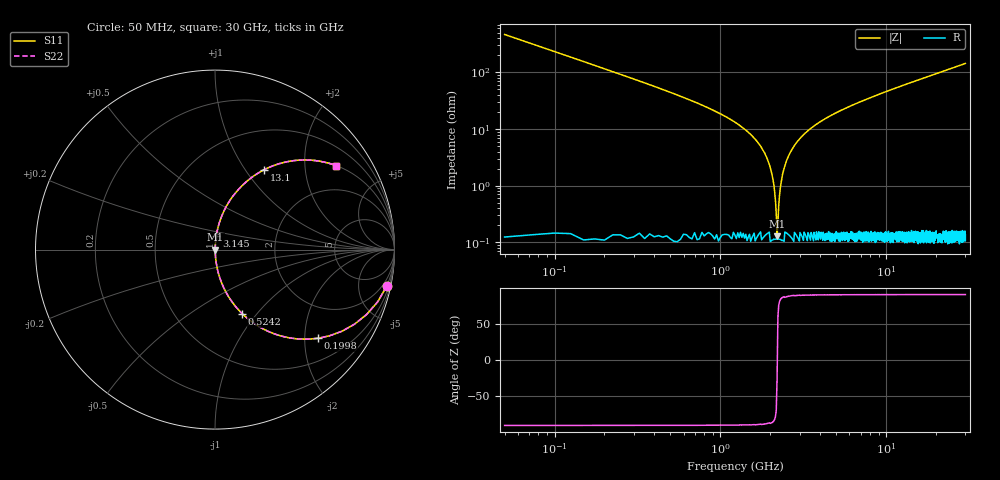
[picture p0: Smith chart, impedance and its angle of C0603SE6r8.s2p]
!	AVX Thin Film Operation 	Date: April 2014
!	Description: Accu-P® Series, Thin Film  SMD RF Capacitor
!	Part Number: 06035J6R8BBSTR
# MHZ S MA R 50
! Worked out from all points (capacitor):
!   1201 points, 50 MHz to 30 GHz, reference 50 ohm
!   read as one part in series: C = 6.8 pF near 199.8 MHz
!   lowest |Z| = 128 mohm at 2.196 GHz (marker M1)
!   series resonance near 2.202 GHz, so ESL is about 770 pH
!   S11 on the Smith chart (normalised r, x): 50 MHz: 1.00, -9.36; 199.8 MHz: 1.00, -2.33; 524.2 MHz: 1.00, -0.84; 3.145 GHz: 1.00, +0.15; 13.1 GHz: 1.00, +1.23; 30 GHz: 1.00, +2.88
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50  0.978 -12.1  0.209 77.9  0.209 77.9  0.978 -12.1
199.75  0.758 -40.7  0.652 49.3  0.652 49.3  0.758 -40.7
349.5  0.546 -56.8  0.837 33.1  0.837 33.1  0.546 -56.8
524.208  0.388 -67.0  0.921 22.8  0.921 22.8  0.388 -67.0
923.542  0.204 -77.9  0.978 11.8  0.978 11.8  0.204 -77.9
1722.208  0.053 -85.6  0.997 3.0  0.997 3.0  0.053 -85.6
1921.875  0.029 -85.8  0.998 1.7  0.998 1.7  0.029 -85.8
1996.75  0.021 -85.3  0.999 1.2  0.999 1.2  0.021 -85.3
2096.583  0.011 -82.4  0.999 0.6  0.999 0.6  0.011 -82.4
2196.417  0.001401 -24.1  0.999 0.0  0.999 0.0  0.001401 -24.1
2296.25  0.008958 81.3  0.999 -0.5  0.999 -0.5  0.008958 81.3
2446  0.022 85.4  0.998 -1.3  0.998 -1.3  0.022 85.4
2595.75  0.035 85.9  0.998 -2.0  0.998 -2.0  0.035 85.9
3144.833  0.077 84.6  0.996 -4.4  0.996 -4.4  0.077 84.6
3893.583  0.127 82.2  0.991 -7.3  0.991 -7.3  0.127 82.2
5041.667  0.193 78.5  0.98 -11.1  0.98 -11.1  0.193 78.5
10058.29  0.419 65.1  0.907 -24.8  0.907 -24.8  0.419 65.1
13103.21  0.523 58.3  0.851 -31.5  0.851 -31.5  0.523 58.3
15025  0.578 54.6  0.815 -35.3  0.815 -35.3  0.578 54.6
20016.67  0.69 46.3  0.723 -43.6  0.723 -43.6  0.69 46.3
25033.29  0.767 39.8  0.64 -50.1  0.64 -50.1  0.767 39.8
30000  0.821 34.8  0.57 -55.2  0.57 -55.2  0.821 34.8
